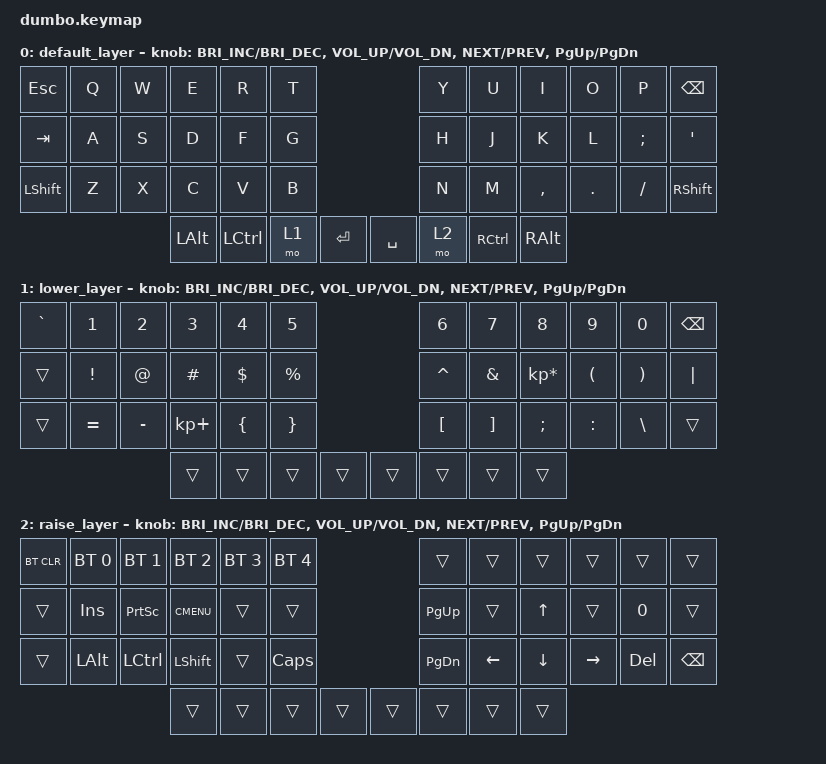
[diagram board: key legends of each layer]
/*
 * Copyright (c) 2021 The ZMK Contributors
 *
 * SPDX-License-Identifier: MIT
 */

#include <behaviors.dtsi>
#include <dt-bindings/zmk/keys.h>
#include <dt-bindings/zmk/bt.h>

/ {
    keymap {
        compatible = "zmk,keymap";

        default_layer {
// ------------------------------------------------------------------------------------------------------------
// |  ESC  |  Q  |  W  |  E   |  R   |  T   |                   |  Y   |  U    |  I    |  O   |   P   | BKSPC |
// |  TAB  |  A  |  S  |  D   |  F   |  G   |                   |  H   |  J    |  K    |  L   |   ;   |   '   |
// | SHIFT |  Z  |  X  |  C   |  V   |  B   |                   |  N   |  M    |  ,    |  .   |   /   | SHIFT |
//                     | ALT  | CTRL | LOWER|  ENTER |  | SPACE | RAISE| CTRL  | ALT   |
            bindings = <
&kp ESC   &kp Q  &kp W    &kp E    &kp R     &kp T                       &kp Y  &kp U     &kp I     &kp O    &kp P    &kp BSPC
&kp TAB   &kp A  &kp S    &kp D    &kp F     &kp G                       &kp H  &kp J     &kp K     &kp L    &kp SEMI &kp SQT
&kp LSHFT &kp Z  &kp X    &kp C    &kp V     &kp B                       &kp N  &kp M     &kp COMMA &kp DOT  &kp FSLH &kp RSHFT
                          &kp LALT &kp LCTRL &mo 1  &kp RET    &kp SPACE &mo 2  &kp RCTRL &kp RALT
            >;
//                             encoder_left1        –          encoder_left2         –       encoder_right2      –     encoder_right1
            sensor-bindings = <&inc_dec_kp C_BRI_INC C_BRI_DEC &inc_dec_kp C_VOL_UP C_VOL_DN &inc_dec_kp C_NEXT C_PREV &inc_dec_kp PG_UP PG_DN>;
        };

        lower_layer {
// TODO: Some binds are waiting for shifted keycode support.
// ------------------------------------------------------------------------------------------------------------
// | `     |   1 |   2 |   3  |   4  |   5  |                   |   6  |   7   |   8   |   9  |    0  |       |
// |       |  !  |  @  |  #   |  $   |  %   |                   |  ^   |  &    |  *    |  (   |   )   |   |   |
// |       |  =  |  -  |  +   |  {   |  }   |                   |  [   |  ]    |  ;    |  :   |   \   |       |
//                     | ALT  | CTRL | LOWER|  ENTER |  | SPACE | RAISE| CTRL  | ALT   |
            bindings = <
&kp GRAVE &kp N1    &kp N2    &kp N3      &kp N4    &kp N5                    &kp N6    &kp N7   &kp N8          &kp N9    &kp N0    &kp BSPC
&trans    &kp EXCL  &kp AT    &kp HASH    &kp DLLR  &kp PRCNT                 &kp CARET &kp AMPS &kp KP_MULTIPLY &kp LPAR  &kp RPAR  &kp PIPE
&trans    &kp EQUAL &kp MINUS &kp KP_PLUS &kp LBRC  &kp RBRC                  &kp LBKT  &kp RBKT &kp SEMI        &kp COLON &kp BSLH  &trans
                              &trans      &trans    &trans    &trans   &trans &trans    &trans   &trans
            >;
//                             encoder_left1        –          encoder_left2         –       encoder_right2      –     encoder_right1
            sensor-bindings = <&inc_dec_kp C_BRI_INC C_BRI_DEC &inc_dec_kp C_VOL_UP C_VOL_DN &inc_dec_kp C_NEXT C_PREV &inc_dec_kp PG_UP PG_DN>;
        };

        raise_layer {
// ------------------------------------------------------------------------------------------------------------
// |BTCLR| BT1  | BT2  |  BT3  |  BT4  |  BT5 |                |      |      |       |      |       |       |
// |     | INS  | PSCR | GUI   |       |      |                | PGUP |      |   ^   |      |       |       |
// |     | ALT  | CTRL | SHIFT |       | CAPS |                | PGDN |   <- |   v   |  ->  |  DEL  | BKSPC |
//                     |       |       |      |      |  |      |      |      |       |
            bindings = <
&bt BT_CLR &bt BT_SEL 0 &bt BT_SEL 1 &bt BT_SEL 2 &bt BT_SEL 3 &bt BT_SEL 4             &trans    &trans    &trans   &trans    &trans  &trans
&trans     &kp INS      &kp PSCRN    &kp K_CMENU  &trans       &trans                   &kp PG_UP &trans    &kp UP   &trans    &kp N0  &trans
&trans     &kp LALT     &kp LCTRL    &kp LSHFT    &trans       &kp CLCK                 &kp PG_DN &kp LEFT  &kp DOWN &kp RIGHT &kp DEL &kp BSPC
                                     &trans       &trans       &trans   &trans   &trans &trans    &trans   &trans
            >;
//                             encoder_left1        –          encoder_left2         –       encoder_right2      –     encoder_right1
            sensor-bindings = <&inc_dec_kp C_BRI_INC C_BRI_DEC &inc_dec_kp C_VOL_UP C_VOL_DN &inc_dec_kp C_NEXT C_PREV &inc_dec_kp PG_UP PG_DN>;
        };
    };
};
